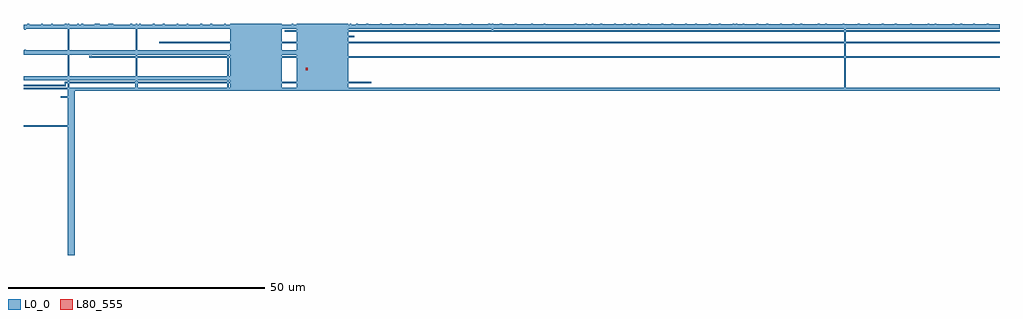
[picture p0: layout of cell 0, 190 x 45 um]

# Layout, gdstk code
import gdstk
lib = gdstk.Library(unit=1e-6, precision=1e-09)
def P(c, l, *ps):  # polygons
    for p in ps: c.add(gdstk.Polygon(p, *l))
L0_0 = (0, 0)
L80_555 = (80, 555)

c_0 = lib.new_cell('0')
P(c_0, L0_0, [(1250.24,775),(1250.24,762),(1240.24,762),(1240.24,775),(1250.24,775)],
  [(1240.24,774.88),(1250.24,774.88),(1250.24,774.08),(1240.24,774.08),(1240.24,774.88)],
  [(1240.24,764.8),(1250.24,764.8),(1250.24,764),(1240.24,764),(1240.24,764.8)],
  [(1240.24,762),(1240.24,762.62),(1250.24,762.62),(1250.24,762),(1240.24,762)],
  [(1263.24,775),(1263.24,762),(1253.24,762),(1253.24,775),(1263.24,775)],
  [(1253.24,769.84),(1263.24,769.84),(1263.24,769.04),(1253.24,769.04),(1253.24,769.84)],
  [(1260.33,764.39),(1260.87,764.39),(1260.87,763.85),(1260.33,763.85),(1260.33,764.39)],
  [(1221.72,763.83),(1222.26,763.83),(1222.26,763.29),(1221.72,763.29),(1221.72,763.83)],
  [(1221.77,762),(1221.77,763.78),(1222.21,763.78),(1222.21,762),(1221.77,762)],
  [(1200,769.84),(1201.2,769.84),(1201.2,769.04),(1200,769.04),(1200,769.84)],
  [(1201.2,769.84),(1201.2,769.04),(1200.54,769.04),(1200.54,769.84),(1201.2,769.84)],
  [(1253.24,769.84),(1263.24,769.84),(1263.24,769.04),(1253.24,769.04),(1253.24,769.84)],
  [(1201.2,769.84),(1263.24,769.84),(1263.24,769.04),(1201.2,769.04),(1201.2,769.84)],
  [(1200,769.84),(1200.12,769.84),(1200.12,770.015),(1200.46,770.015),(1200.46,769.84),(1201.2,769.84),(1201.2,769.04),(1200,769.04),(1200,769.84)],
  [(1239.695,768.485),(1239.695,769.16),(1239.925,769.16),(1239.925,768.485),(1239.695,768.485)],
  [(1200,769.84),(1200.54,769.84),(1200.54,769.04),(1200,769.04),(1200,769.84)],
  [(1239.62,768.74),(1240,768.74),(1240,768.46),(1239.62,768.46),(1239.62,768.74)],
  [(1201.2,769.84),(1201.2,769.04),(1200.54,769.04),(1200.54,769.84),(1201.2,769.84)],
  [(1253.24,769.84),(1263.24,769.84),(1263.24,769.04),(1253.24,769.04),(1253.24,769.84)],
  [(1200,769.84),(1200.12,769.84),(1200.12,770.015),(1200.46,770.015),(1200.46,769.84),(1201.2,769.84),(1201.2,769.04),(1200,769.04),(1200,769.84)],
  [(1201.2,769.84),(1263.24,769.84),(1263.24,769.04),(1201.2,769.04),(1201.2,769.84)],
  [(1239.695,768.485),(1239.695,769.16),(1239.925,769.16),(1239.925,768.485),(1239.695,768.485)],
  [(1200,769.84),(1200.54,769.84),(1200.54,769.04),(1200,769.04),(1200,769.84)],
  [(1240.24,764.8),(1250.24,764.8),(1250.24,764),(1240.24,764),(1240.24,764.8)],
  [(1201.2,764.8),(1201.2,764),(1200.54,764),(1200.54,764.8),(1201.2,764.8)],
  [(1200,764.8),(1201.2,764.8),(1201.2,764),(1200,764),(1200,764.8)],
  [(1201.2,764.8),(1250.24,764.8),(1250.24,764),(1201.2,764),(1201.2,764.8)],
  [(1200,764.8),(1200.54,764.8),(1200.54,764),(1200,764),(1200,764.8)],
  [(1200,764.8),(1201.2,764.8),(1201.2,764),(1200,764),(1200,764.8)],
  [(1200,774.88),(1390,774.88),(1390,774.08),(1200,774.08),(1200,774.88)],
  [(1240.24,774.88),(1250.24,774.88),(1250.24,774.08),(1240.24,774.08),(1240.24,774.88)],
  [(1359.815,773.525),(1359.815,774.2),(1360.045,774.2),(1360.045,773.525),(1359.815,773.525)],
  [(1241.28,775),(1241.28,774.88),(1243.58,774.88),(1243.58,775),(1243.92,775),(1243.92,774.88),(1244.1,774.88),(1244.1,774.08),(1240.14,774.08),(1240.14,774.88),(1240.94,774.88),(1240.94,775),(1241.28,775)],
  [(1217.46,775),(1217.46,774.88),(1217.7,774.88),(1217.7,774.08),(1215.06,774.08),(1215.06,774.88),(1216.48,774.88),(1216.48,775),(1217.46,775)],
  [(1214.82,775),(1214.82,774.88),(1215.06,774.88),(1215.06,774.08),(1212.42,774.08),(1212.42,774.88),(1213.84,774.88),(1213.84,775),(1214.82,775)],
  [(1310.95,775),(1310.95,774.88),(1311.42,774.88),(1311.42,774.08),(1310.1,774.08),(1310.1,774.88),(1310.61,774.88),(1310.61,775),(1310.95,775)],
  [(1210.76,775),(1210.76,774.88),(1211.1,774.88),(1211.1,774.08),(1209.12,774.08),(1209.12,774.88),(1210.42,774.88),(1210.42,775),(1210.76,775)],
  [(1309.76,775),(1309.76,774.88),(1310.1,774.88),(1310.1,774.08),(1308.12,774.08),(1308.12,774.88),(1309.42,774.88),(1309.42,775),(1309.76,775)],
  [(1244.62,775),(1244.62,774.88),(1245.42,774.88),(1245.42,774.08),(1244.1,774.08),(1244.1,774.88),(1244.28,774.88),(1244.28,775),(1244.62,775)],
  [(1211.62,775),(1211.62,774.88),(1212.42,774.88),(1212.42,774.08),(1211.1,774.08),(1211.1,774.88),(1211.28,774.88),(1211.28,775),(1211.62,775)],
  [(1390,774.08),(1388.64,774.08),(1388.64,774.88),(1390,774.88),(1390,774.08)],
  [(1305.48,774.88),(1305.48,774.08),(1302.84,774.08),(1302.84,774.88),(1305.48,774.88)],
  [(1258.62,774.88),(1258.62,774.08),(1255.98,774.08),(1255.98,774.88),(1258.62,774.88)],
  [(1265.88,774.88),(1265.88,774.08),(1264.56,774.08),(1264.56,774.88),(1265.88,774.88)],
  [(1259.94,774.88),(1259.94,774.08),(1258.62,774.08),(1258.62,774.88),(1259.94,774.88)],
  [(1251.36,774.88),(1251.36,774.08),(1250.04,774.08),(1250.04,774.88),(1251.36,774.88)],
  [(1219.02,774.88),(1219.02,774.08),(1217.7,774.08),(1217.7,774.88),(1219.02,774.88)],
  [(1368.84,774.88),(1368.84,774.08),(1368.18,774.08),(1368.18,774.88),(1368.84,774.88)],
  [(1306.14,774.88),(1306.14,774.08),(1305.48,774.08),(1305.48,774.88),(1306.14,774.88)],
  [(1219.68,774.88),(1219.68,774.08),(1219.02,774.08),(1219.02,774.88),(1219.68,774.88)],
  [(1350.01,775),(1350.01,774.88),(1351.225,774.88),(1351.225,775),(1351.565,775),(1351.565,774.88),(1354.665,774.88),(1354.665,775),(1355.005,775),(1355.005,774.88),(1356.065,774.88),(1356.065,775),(1356.405,775),(1356.405,774.88),(1359.46,774.88),(1359.46,775),(1359.8,775),(1359.8,774.88),(1362.44,774.88),(1362.44,775),(1362.78,775),(1362.78,774.88),(1363.56,774.88),(1363.56,774.08),(1348.38,774.08),(1348.38,774.88),(1349.67,774.88),(1349.67,775),(1350.01,775)],
  [(1369.96,775),(1369.96,774.88),(1372.6,774.88),(1372.6,775),(1372.94,775),(1372.94,774.88),(1375.995,774.88),(1375.995,775),(1376.335,775),(1376.335,774.88),(1377.395,774.88),(1377.395,775),(1377.735,775),(1377.735,774.88),(1380.835,774.88),(1380.835,775),(1381.175,775),(1381.175,774.88),(1382.39,774.88),(1382.39,775),(1382.73,775),(1382.73,774.88),(1384.02,774.88),(1384.02,774.08),(1368.84,774.08),(1368.84,774.88),(1369.62,774.88),(1369.62,775),(1369.96,775)],
  [(1236.72,775),(1236.72,774.88),(1239.06,774.88),(1239.06,775),(1239.4,775),(1239.4,774.88),(1240.14,774.88),(1240.14,774.08),(1235.52,774.08),(1235.52,774.88),(1236.38,774.88),(1236.38,775),(1236.72,775)],
  [(1271.7,775),(1271.7,774.88),(1274.04,774.88),(1274.04,775),(1274.38,775),(1274.38,774.88),(1275.12,774.88),(1275.12,774.08),(1270.5,774.08),(1270.5,774.88),(1271.36,774.88),(1271.36,775),(1271.7,775)],
  [(1200,774.88),(1200.74,774.88),(1200.74,775),(1201.08,775),(1201.08,774.88),(1203.42,774.88),(1203.42,775),(1203.76,775),(1203.76,774.88),(1204.5,774.88),(1204.5,774.08),(1200,774.08),(1200,774.88)],
  [(1246.62,775),(1246.62,774.88),(1248.96,774.88),(1248.96,775),(1249.3,775),(1249.3,774.88),(1250.04,774.88),(1250.04,774.08),(1245.42,774.08),(1245.42,774.88),(1246.28,774.88),(1246.28,775),(1246.62,775)],
  [(1267.08,775),(1267.08,774.88),(1269.42,774.88),(1269.42,775),(1269.76,775),(1269.76,774.88),(1270.5,774.88),(1270.5,774.08),(1265.88,774.08),(1265.88,774.88),(1266.74,774.88),(1266.74,775),(1267.08,775)],
  [(1312.62,775),(1312.62,774.88),(1314.96,774.88),(1314.96,775),(1315.3,775),(1315.3,774.88),(1316.04,774.88),(1316.04,774.08),(1311.42,774.08),(1311.42,774.88),(1312.28,774.88),(1312.28,775),(1312.62,775)],
  [(1261.14,775),(1261.14,774.88),(1263.48,774.88),(1263.48,775),(1263.82,775),(1263.82,774.88),(1264.56,774.88),(1264.56,774.08),(1259.94,774.08),(1259.94,774.88),(1260.8,774.88),(1260.8,775),(1261.14,775)],
  [(1317.24,775),(1317.24,774.88),(1319.58,774.88),(1319.58,775),(1319.92,775),(1319.92,774.88),(1320.66,774.88),(1320.66,774.08),(1316.04,774.08),(1316.04,774.88),(1316.9,774.88),(1316.9,775),(1317.24,775)],
  [(1252.56,775),(1252.56,774.88),(1254.9,774.88),(1254.9,775),(1255.24,775),(1255.24,774.88),(1255.98,774.88),(1255.98,774.08),(1251.36,774.08),(1251.36,774.88),(1252.22,774.88),(1252.22,775),(1252.56,775)],
  [(1232.1,775),(1232.1,774.88),(1234.44,774.88),(1234.44,775),(1234.78,775),(1234.78,774.88),(1235.52,774.88),(1235.52,774.08),(1230.9,774.08),(1230.9,774.88),(1231.76,774.88),(1231.76,775),(1232.1,775)],
  [(1321.86,775),(1321.86,774.88),(1324.2,774.88),(1324.2,775),(1324.54,775),(1324.54,774.88),(1325.28,774.88),(1325.28,774.08),(1320.66,774.08),(1320.66,774.88),(1321.52,774.88),(1321.52,775),(1321.86,775)],
  [(1326.48,775),(1326.48,774.88),(1328.82,774.88),(1328.82,775),(1329.16,775),(1329.16,774.88),(1329.9,774.88),(1329.9,774.08),(1325.28,774.08),(1325.28,774.88),(1326.14,774.88),(1326.14,775),(1326.48,775)],
  [(1331.1,775),(1331.1,774.88),(1333.44,774.88),(1333.44,775),(1333.78,775),(1333.78,774.88),(1334.52,774.88),(1334.52,774.08),(1329.9,774.08),(1329.9,774.88),(1330.76,774.88),(1330.76,775),(1331.1,775)],
  [(1335.72,775),(1335.72,774.88),(1338.06,774.88),(1338.06,775),(1338.4,775),(1338.4,774.88),(1339.14,774.88),(1339.14,774.08),(1334.52,774.08),(1334.52,774.88),(1335.38,774.88),(1335.38,775),(1335.72,775)],
  [(1340.34,775),(1340.34,774.88),(1342.68,774.88),(1342.68,775),(1343.02,775),(1343.02,774.88),(1343.76,774.88),(1343.76,774.08),(1339.14,774.08),(1339.14,774.88),(1340,774.88),(1340,775),(1340.34,775)],
  [(1344.96,775),(1344.96,774.88),(1347.3,774.88),(1347.3,775),(1347.64,775),(1347.64,774.88),(1348.38,774.88),(1348.38,774.08),(1343.76,774.08),(1343.76,774.88),(1344.62,774.88),(1344.62,775),(1344.96,775)],
  [(1364.76,775),(1364.76,774.88),(1367.1,774.88),(1367.1,775),(1367.44,775),(1367.44,774.88),(1368.18,774.88),(1368.18,774.08),(1363.56,774.08),(1363.56,774.88),(1364.42,774.88),(1364.42,775),(1364.76,775)],
  [(1385.22,775),(1385.22,774.88),(1387.56,774.88),(1387.56,775),(1387.9,775),(1387.9,774.88),(1388.64,774.88),(1388.64,774.08),(1384.02,774.08),(1384.02,774.88),(1384.88,774.88),(1384.88,775),(1385.22,775)],
  [(1205.7,775),(1205.7,774.88),(1208.04,774.88),(1208.04,775),(1208.38,775),(1208.38,774.88),(1209.12,774.88),(1209.12,774.08),(1204.5,774.08),(1204.5,774.88),(1205.36,774.88),(1205.36,775),(1205.7,775)],
  [(1222.86,775),(1222.86,774.88),(1225.2,774.88),(1225.2,775),(1225.54,775),(1225.54,774.88),(1226.28,774.88),(1226.28,774.08),(1221.66,774.08),(1221.66,774.88),(1222.52,774.88),(1222.52,775),(1222.86,775)],
  [(1227.48,775),(1227.48,774.88),(1229.82,774.88),(1229.82,775),(1230.16,775),(1230.16,774.88),(1230.9,774.88),(1230.9,774.08),(1226.28,774.08),(1226.28,774.88),(1227.14,774.88),(1227.14,775),(1227.48,775)],
  [(1200,774.88),(1201.2,774.88),(1201.2,774.08),(1200.46,774.08),(1200.46,773.905),(1200.12,773.905),(1200.12,774.08),(1200,774.08),(1200,774.88)],
  [(1290.83,775),(1290.83,774.88),(1292.75,774.88),(1292.75,775),(1293.165,775),(1293.165,774.88),(1295.625,774.88),(1295.625,775),(1296.04,775),(1296.04,774.88),(1298.8,774.88),(1298.8,775),(1299.14,775),(1299.14,774.88),(1301.26,774.88),(1301.26,775),(1301.6,775),(1301.6,774.88),(1302.84,774.88),(1302.84,774.08),(1288.98,774.08),(1288.98,774.88),(1290.49,774.88),(1290.49,775),(1290.83,775)],
  [(1276.7,775),(1276.7,774.88),(1278.82,774.88),(1278.82,775),(1279.16,775),(1279.16,774.88),(1281.92,774.88),(1281.92,775),(1282.335,775),(1282.335,774.88),(1284.795,774.88),(1284.795,775),(1285.21,775),(1285.21,774.88),(1287.13,774.88),(1287.13,775),(1287.47,775),(1287.47,774.88),(1288.98,774.88),(1288.98,774.08),(1275.12,774.08),(1275.12,774.88),(1276.36,774.88),(1276.36,775),(1276.7,775)],
  [(1221.13,775),(1221.13,774.88),(1221.66,774.88),(1221.66,774.08),(1219.68,774.08),(1219.68,774.88),(1220.75,774.88),(1220.75,775),(1221.13,775)],
  [(1307.59,775),(1307.59,774.88),(1308.12,774.88),(1308.12,774.08),(1306.14,774.08),(1306.14,774.88),(1307.21,774.88),(1307.21,775),(1307.59,775)],
  [(1359.74,773.78),(1360.12,773.78),(1360.12,773.5),(1359.74,773.5),(1359.74,773.78)],
  [(1240.24,764.8),(1250.24,764.8),(1250.24,764),(1240.24,764),(1240.24,764.8)],
  [(1201.2,764.8),(1201.2,764),(1200.54,764),(1200.54,764.8),(1201.2,764.8)],
  [(1201.2,764.8),(1250.24,764.8),(1250.24,764),(1201.2,764),(1201.2,764.8)],
  [(1200,764.8),(1200.54,764.8),(1200.54,764),(1200,764),(1200,764.8)],
  [(1200,764.8),(1201.2,764.8),(1201.2,764),(1200,764),(1200,764.8)],
  [(1367.66,771.54),(1368.04,771.54),(1368.04,771.26),(1367.66,771.26),(1367.66,771.54)],
  [(1226.42,771.54),(1226.8,771.54),(1226.8,771.26),(1226.42,771.26),(1226.42,771.54)],
  [(1226.495,771.515),(1367.965,771.515),(1367.965,771.285),(1226.495,771.285),(1226.495,771.515)],
  [(1207.28,760.9),(1207.66,760.9),(1207.66,760.62),(1207.28,760.62),(1207.28,760.9)],
  [(1210,760.645),(1207.355,760.645),(1207.355,760.875),(1210,760.875),(1210,760.645)],
  [(1200,762.555),(1390,762.555),(1390,762.325),(1200,762.325),(1200,762.555)],
  [(1239.695,768.485),(1239.695,769.16),(1239.925,769.16),(1239.925,768.485),(1239.695,768.485)],
  [(1239.62,768.74),(1240,768.74),(1240,768.46),(1239.62,768.46),(1239.62,768.74)],
  [(1340.34,775),(1340.34,774.88),(1342.68,774.88),(1342.68,775),(1343.02,775),(1343.02,774.88),(1343.76,774.88),(1343.76,774.08),(1339.14,774.08),(1339.14,774.88),(1340,774.88),(1340,775),(1340.34,775)],
  [(1359.815,773.525),(1359.815,774.2),(1360.045,774.2),(1360.045,773.525),(1359.815,773.525)],
  [(1359.74,773.78),(1360.12,773.78),(1360.12,773.5),(1359.74,773.5),(1359.74,773.78)],
  [(1350.01,775),(1350.01,774.88),(1351.225,774.88),(1351.225,775),(1351.565,775),(1351.565,774.88),(1354.665,774.88),(1354.665,775),(1355.005,775),(1355.005,774.88),(1356.065,774.88),(1356.065,775),(1356.405,775),(1356.405,774.88),(1359.46,774.88),(1359.46,775),(1359.8,775),(1359.8,774.88),(1362.44,774.88),(1362.44,775),(1362.78,775),(1362.78,774.88),(1363.56,774.88),(1363.56,774.08),(1348.38,774.08),(1348.38,774.88),(1349.67,774.88),(1349.67,775),(1350.01,775)],
  [(1251.36,774.88),(1251.36,774.08),(1250.04,774.08),(1250.04,774.88),(1251.36,774.88)],
  [(1240.24,774.88),(1250.24,774.88),(1250.24,774.08),(1240.24,774.08),(1240.24,774.88)],
  [(1241.28,775),(1241.28,774.88),(1243.58,774.88),(1243.58,775),(1243.92,775),(1243.92,774.88),(1244.1,774.88),(1244.1,774.08),(1240.14,774.08),(1240.14,774.88),(1240.94,774.88),(1240.94,775),(1241.28,775)],
  [(1244.62,775),(1244.62,774.88),(1245.42,774.88),(1245.42,774.08),(1244.1,774.08),(1244.1,774.88),(1244.28,774.88),(1244.28,775),(1244.62,775)],
  [(1246.62,775),(1246.62,774.88),(1248.96,774.88),(1248.96,775),(1249.3,775),(1249.3,774.88),(1250.04,774.88),(1250.04,774.08),(1245.42,774.08),(1245.42,774.88),(1246.28,774.88),(1246.28,775),(1246.62,775)],
  [(1251.36,774.88),(1251.36,774.08),(1250.04,774.08),(1250.04,774.88),(1251.36,774.88)],
  [(1244.62,775),(1244.62,774.88),(1245.42,774.88),(1245.42,774.08),(1244.1,774.08),(1244.1,774.88),(1244.28,774.88),(1244.28,775),(1244.62,775)],
  [(1240.24,774.88),(1250.24,774.88),(1250.24,774.08),(1240.24,774.08),(1240.24,774.88)],
  [(1246.62,775),(1246.62,774.88),(1248.96,774.88),(1248.96,775),(1249.3,775),(1249.3,774.88),(1250.04,774.88),(1250.04,774.08),(1245.42,774.08),(1245.42,774.88),(1246.28,774.88),(1246.28,775),(1246.62,775)],
  [(1290.83,775),(1290.83,774.88),(1292.75,774.88),(1292.75,775),(1293.165,775),(1293.165,774.88),(1295.625,774.88),(1295.625,775),(1296.04,775),(1296.04,774.88),(1298.8,774.88),(1298.8,775),(1299.14,775),(1299.14,774.88),(1301.26,774.88),(1301.26,775),(1301.6,775),(1301.6,774.88),(1302.84,774.88),(1302.84,774.08),(1288.98,774.08),(1288.98,774.88),(1290.49,774.88),(1290.49,775),(1290.83,775)],
  [(1306.14,774.88),(1306.14,774.08),(1305.48,774.08),(1305.48,774.88),(1306.14,774.88)],
  [(1305.48,774.88),(1305.48,774.08),(1302.84,774.08),(1302.84,774.88),(1305.48,774.88)],
  [(1252.56,775),(1252.56,774.88),(1254.9,774.88),(1254.9,775),(1255.24,775),(1255.24,774.88),(1255.98,774.88),(1255.98,774.08),(1251.36,774.08),(1251.36,774.88),(1252.22,774.88),(1252.22,775),(1252.56,775)],
  [(1258.62,774.88),(1258.62,774.08),(1255.98,774.08),(1255.98,774.88),(1258.62,774.88)],
  [(1265.88,774.88),(1265.88,774.08),(1264.56,774.08),(1264.56,774.88),(1265.88,774.88)],
  [(1259.94,774.88),(1259.94,774.08),(1258.62,774.08),(1258.62,774.88),(1259.94,774.88)],
  [(1261.14,775),(1261.14,774.88),(1263.48,774.88),(1263.48,775),(1263.82,775),(1263.82,774.88),(1264.56,774.88),(1264.56,774.08),(1259.94,774.08),(1259.94,774.88),(1260.8,774.88),(1260.8,775),(1261.14,775)],
  [(1265.88,774.88),(1265.88,774.08),(1264.56,774.08),(1264.56,774.88),(1265.88,774.88)],
  [(1251.36,774.88),(1251.36,774.08),(1250.04,774.08),(1250.04,774.88),(1251.36,774.88)],
  [(1240.24,774.88),(1250.24,774.88),(1250.24,774.08),(1240.24,774.08),(1240.24,774.88)],
  [(1246.62,775),(1246.62,774.88),(1248.96,774.88),(1248.96,775),(1249.3,775),(1249.3,774.88),(1250.04,774.88),(1250.04,774.08),(1245.42,774.08),(1245.42,774.88),(1246.28,774.88),(1246.28,775),(1246.62,775)],
  [(1240.24,774.88),(1250.24,774.88),(1250.24,774.08),(1240.24,774.08),(1240.24,774.88)],
  [(1246.62,775),(1246.62,774.88),(1248.96,774.88),(1248.96,775),(1249.3,775),(1249.3,774.88),(1250.04,774.88),(1250.04,774.08),(1245.42,774.08),(1245.42,774.88),(1246.28,774.88),(1246.28,775),(1246.62,775)],
  [(1317.24,775),(1317.24,774.88),(1319.58,774.88),(1319.58,775),(1319.92,775),(1319.92,774.88),(1320.66,774.88),(1320.66,774.08),(1316.04,774.08),(1316.04,774.88),(1316.9,774.88),(1316.9,775),(1317.24,775)],
  [(1312.62,775),(1312.62,774.88),(1314.96,774.88),(1314.96,775),(1315.3,775),(1315.3,774.88),(1316.04,774.88),(1316.04,774.08),(1311.42,774.08),(1311.42,774.88),(1312.28,774.88),(1312.28,775),(1312.62,775)],
  [(1331.1,775),(1331.1,774.88),(1333.44,774.88),(1333.44,775),(1333.78,775),(1333.78,774.88),(1334.52,774.88),(1334.52,774.08),(1329.9,774.08),(1329.9,774.88),(1330.76,774.88),(1330.76,775),(1331.1,775)],
  [(1335.72,775),(1335.72,774.88),(1338.06,774.88),(1338.06,775),(1338.4,775),(1338.4,774.88),(1339.14,774.88),(1339.14,774.08),(1334.52,774.08),(1334.52,774.88),(1335.38,774.88),(1335.38,775),(1335.72,775)],
  [(1276.7,775),(1276.7,774.88),(1278.82,774.88),(1278.82,775),(1279.16,775),(1279.16,774.88),(1281.92,774.88),(1281.92,775),(1282.335,775),(1282.335,774.88),(1284.795,774.88),(1284.795,775),(1285.21,775),(1285.21,774.88),(1287.13,774.88),(1287.13,775),(1287.47,775),(1287.47,774.88),(1288.98,774.88),(1288.98,774.08),(1275.12,774.08),(1275.12,774.88),(1276.36,774.88),(1276.36,775),(1276.7,775)],
  [(1290.83,775),(1290.83,774.88),(1292.75,774.88),(1292.75,775),(1293.165,775),(1293.165,774.88),(1295.625,774.88),(1295.625,775),(1296.04,775),(1296.04,774.88),(1298.8,774.88),(1298.8,775),(1299.14,775),(1299.14,774.88),(1301.26,774.88),(1301.26,775),(1301.6,775),(1301.6,774.88),(1302.84,774.88),(1302.84,774.08),(1288.98,774.08),(1288.98,774.88),(1290.49,774.88),(1290.49,775),(1290.83,775)],
  [(1359.79,762),(1359.79,773.78),(1360.07,773.78),(1360.07,762),(1359.79,762)],
  [(1359.74,773.78),(1360.12,773.78),(1360.12,773.5),(1359.74,773.5),(1359.74,773.78)],
  [(1260.13,762),(1260.13,764.26),(1260.41,764.26),(1260.41,762),(1260.13,762)],
  [(1260.08,764.26),(1260.46,764.26),(1260.46,763.98),(1260.08,763.98),(1260.08,764.26)],
  [(1239.67,762),(1239.67,768.74),(1239.95,768.74),(1239.95,762),(1239.67,762)],
  [(1239.62,768.74),(1240,768.74),(1240,768.46),(1239.62,768.46),(1239.62,768.74)],
  [(1257.44,771.54),(1257.82,771.54),(1257.82,771.26),(1257.44,771.26),(1257.44,771.54)],
  [(1257.44,772.66),(1257.82,772.66),(1257.82,772.38),(1257.44,772.38),(1257.44,772.66)],
  [(1257.49,771.26),(1257.49,772.66),(1257.77,772.66),(1257.77,771.26),(1257.49,771.26)],
  [(1291.15,774.57),(1291.43,774.57),(1291.43,773.83),(1291.15,773.83),(1291.15,774.57)],
  [(1291.43,775),(1291.43,774.06),(1291.15,774.06),(1291.15,775),(1291.43,775)],
  [(1338.95,775),(1338.95,774.06),(1338.67,774.06),(1338.67,775),(1338.95,775)],
  [(1338.62,774.34),(1339,774.34),(1339,774.06),(1338.62,774.06),(1338.62,774.34)],
  [(1208.6,755.3),(1208.98,755.3),(1208.98,755.02),(1208.6,755.02),(1208.6,755.3)],
  [(1208.93,775),(1208.93,755.02),(1208.65,755.02),(1208.65,775),(1208.93,775)],
  [(1240.24,774.88),(1250.24,774.88),(1250.24,774.08),(1240.24,774.08),(1240.24,774.88)],
  [(1240.24,774.88),(1250.24,774.88),(1250.24,774.08),(1240.24,774.08),(1240.24,774.88)],
  [(1240.24,764.8),(1250.24,764.8),(1250.24,764),(1240.24,764),(1240.24,764.8)],
  [(1240.24,764.8),(1250.24,764.8),(1250.24,764),(1240.24,764),(1240.24,764.8)],
  [(1253.24,769.84),(1263.24,769.84),(1263.24,769.04),(1253.24,769.04),(1253.24,769.84)],
  [(1253.24,769.84),(1263.24,769.84),(1263.24,769.04),(1253.24,769.04),(1253.24,769.84)],
  [(1390,774.62),(1318.21,774.62),(1318.21,774.9),(1390,774.9),(1390,774.62)],
  [(1318.16,774.9),(1318.54,774.9),(1318.54,774.62),(1318.16,774.62),(1318.16,774.9)],
  [(1251.55,771.54),(1257.77,771.54),(1257.77,771.26),(1251.55,771.26),(1251.55,771.54)],
  [(1251.5,771.54),(1251.88,771.54),(1251.88,771.26),(1251.5,771.26),(1251.5,771.54)],
  [(1257.44,771.54),(1257.82,771.54),(1257.82,771.26),(1257.44,771.26),(1257.44,771.54)],
  [(1257.49,772.66),(1264.37,772.66),(1264.37,772.38),(1257.49,772.38),(1257.49,772.66)],
  [(1264.04,772.66),(1264.42,772.66),(1264.42,772.38),(1264.04,772.38),(1264.04,772.66)],
  [(1257.44,772.66),(1257.82,772.66),(1257.82,772.38),(1257.44,772.38),(1257.44,772.66)],
  [(1338.62,774.34),(1339,774.34),(1339,774.06),(1338.62,774.06),(1338.62,774.34)],
  [(1291.1,774.34),(1291.48,774.34),(1291.48,774.06),(1291.1,774.06),(1291.1,774.34)],
  [(1291.15,774.34),(1338.95,774.34),(1338.95,774.06),(1291.15,774.06),(1291.15,774.34)],
  [(1306.33,773.78),(1387.79,773.78),(1387.79,773.5),(1306.33,773.5),(1306.33,773.78)],
  [(1306.28,773.78),(1306.66,773.78),(1306.66,773.5),(1306.28,773.5),(1306.28,773.78)],
  [(1387.46,773.78),(1387.84,773.78),(1387.84,773.5),(1387.46,773.5),(1387.46,773.78)],
  [(1200,755.3),(1208.93,755.3),(1208.93,755.02),(1200,755.02),(1200,755.3)],
  [(1208.6,755.3),(1208.98,755.3),(1208.98,755.02),(1208.6,755.02),(1208.6,755.3)],
  [(1267.34,763.7),(1267.72,763.7),(1267.72,763.42),(1267.34,763.42),(1267.34,763.7)],
  [(1200,763.14),(1208.27,763.14),(1208.27,762.86),(1200,762.86),(1200,763.14)],
  [(1207.99,762.86),(1207.99,763.7),(1208.27,763.7),(1208.27,762.86),(1207.99,762.86)],
  [(1207.99,763.7),(1267.67,763.7),(1267.67,763.42),(1207.99,763.42),(1207.99,763.7)],
  [(1207.99,762.86),(1207.99,763.7),(1208.27,763.7),(1208.27,762.86),(1207.99,762.86)],
  [(1207.99,763.7),(1267.67,763.7),(1267.67,763.42),(1207.99,763.42),(1207.99,763.7)],
  [(1267.34,763.7),(1267.72,763.7),(1267.72,763.42),(1267.34,763.42),(1267.34,763.7)],
  [(1207.99,763.7),(1267.67,763.7),(1267.67,763.42),(1207.99,763.42),(1207.99,763.7)],
  [(1259.9,764.26),(1260.64,764.26),(1260.64,763.98),(1259.9,763.98),(1259.9,764.26)],
  [(1260.08,764.26),(1260.46,764.26),(1260.46,763.98),(1260.08,763.98),(1260.08,764.26)],
  [(1240.24,774.88),(1250.24,774.88),(1250.24,774.08),(1240.24,774.08),(1240.24,774.88)],
  [(1240.24,774.88),(1250.24,774.88),(1250.24,774.08),(1240.24,774.08),(1240.24,774.88)],
  [(1240.24,764.8),(1250.24,764.8),(1250.24,764),(1240.24,764),(1240.24,764.8)],
  [(1240.24,764.8),(1250.24,764.8),(1250.24,764),(1240.24,764),(1240.24,764.8)],
  [(1253.24,769.84),(1263.24,769.84),(1263.24,769.04),(1253.24,769.04),(1253.24,769.84)],
  [(1253.24,769.84),(1263.24,769.84),(1263.24,769.04),(1253.24,769.04),(1253.24,769.84)],
  [(1390,762),(1210,762),(1210,760.62),(1208.585,760.62),(1208.585,762.62),(1390,762.62),(1390,762)],
  [(1240.81,762),(1240.81,762.62),(1247.95,762.62),(1247.95,762),(1240.81,762)],
  [(1318.49,775),(1318.49,774.62),(1318.21,774.62),(1318.21,775),(1318.49,775)],
  [(1318.16,774.9),(1318.54,774.9),(1318.54,774.62),(1318.16,774.62),(1318.16,774.9)],
  [(1221.8,763.7),(1222.18,763.7),(1222.18,763.42),(1221.8,763.42),(1221.8,763.7)],
  [(1222.13,775),(1222.13,763.42),(1221.85,763.42),(1221.85,775),(1222.13,775)],
  [(1264.7,774.9),(1265.08,774.9),(1265.08,774.62),(1264.7,774.62),(1264.7,774.9)],
  [(1265.03,775),(1265.03,774.62),(1264.75,774.62),(1264.75,775),(1265.03,775)],
  [(1260.08,764.26),(1260.46,764.26),(1260.46,763.98),(1260.08,763.98),(1260.08,764.26)],
  [(1260.13,764.49),(1260.41,764.49),(1260.41,763.75),(1260.13,763.75),(1260.13,764.49)],
  [(1240.24,774.88),(1250.24,774.88),(1250.24,774.08),(1240.24,774.08),(1240.24,774.88)],
  [(1240.24,774.88),(1250.24,774.88),(1250.24,774.08),(1240.24,774.08),(1240.24,774.88)],
  [(1240.24,764.8),(1250.24,764.8),(1250.24,764),(1240.24,764),(1240.24,764.8)],
  [(1240.24,764.8),(1250.24,764.8),(1250.24,764),(1240.24,764),(1240.24,764.8)],
  [(1253.24,769.84),(1263.24,769.84),(1263.24,769.04),(1253.24,769.04),(1253.24,769.84)],
  [(1253.24,769.84),(1263.24,769.84),(1263.24,769.04),(1253.24,769.04),(1253.24,769.84)],
  [(1240.81,762),(1240.81,762.62),(1247.95,762.62),(1247.95,762),(1240.81,762)],
  [(1240.81,762),(1240.81,762.62),(1247.95,762.62),(1247.95,762),(1240.81,762)],
  [(1210,743.84),(1208.585,743.84),(1208.585,744.64),(1210,744.64),(1210,743.84)],
  [(1210,733.76),(1208.585,733.76),(1208.585,734.56),(1210,734.56),(1210,733.76)],
  [(1210,762),(1210,730),(1208.585,730),(1208.585,762.62),(1210.585,762.62),(1210.585,762),(1210,762)],
  [(1210,753.92),(1208.585,753.92),(1208.585,754.72),(1210,754.72),(1210,753.92)],
  [(1210,743.84),(1208.585,743.84),(1208.585,744.64),(1210,744.64),(1210,743.84)],
  [(1210,762),(1210,730),(1208.585,730),(1208.585,762.62),(1210.585,762.62),(1210.585,762),(1210,762)],
  [(1210,733.76),(1208.585,733.76),(1208.585,734.56),(1210,734.56),(1210,733.76)],
  [(1210,762),(1210,730),(1208.585,730),(1208.585,762.62),(1210.585,762.62),(1210.585,762),(1210,762)],
  [(1385.67,762),(1385.67,762.62),(1389.47,762.62),(1389.47,762),(1385.67,762)],
  [(1376.91,762),(1376.91,762.62),(1378.59,762.62),(1378.59,762),(1376.91,762)],
  [(1368.45,762),(1368.45,762.62),(1369.45,762.62),(1369.45,762),(1368.45,762)],
  [(1366.7,762),(1366.7,762.62),(1367.58,762.62),(1367.58,762),(1366.7,762)],
  [(1360.95,762),(1360.95,762.62),(1361.81,762.62),(1361.81,762),(1360.95,762)],
  [(1355.19,762),(1355.19,762.62),(1356.05,762.62),(1356.05,762),(1355.19,762)],
  [(1348.58,762),(1348.58,762.62),(1349.68,762.62),(1349.68,762),(1348.58,762)],
  [(1340.15,762),(1340.15,762.62),(1341.69,762.62),(1341.69,762),(1340.15,762)],
  [(1330.07,762),(1330.07,762.62),(1332.45,762.62),(1332.45,762),(1330.07,762)],
  [(1323.05,762),(1323.05,762.62),(1325.43,762.62),(1325.43,762),(1323.05,762)],
  [(1313.81,762),(1313.81,762.62),(1315.35,762.62),(1315.35,762),(1313.81,762)],
  [(1309.51,762),(1309.51,762.62),(1311.05,762.62),(1311.05,762),(1309.51,762)],
  [(1299.43,762),(1299.43,762.62),(1301.81,762.62),(1301.81,762),(1299.43,762)],
  [(1292.41,762),(1292.41,762.62),(1294.79,762.62),(1294.79,762),(1292.41,762)],
  [(1283.17,762),(1283.17,762.62),(1284.71,762.62),(1284.71,762),(1283.17,762)],
  [(1278.87,762),(1278.87,762.62),(1280.41,762.62),(1280.41,762),(1278.87,762)],
  [(1268.79,762),(1268.79,762.62),(1271.17,762.62),(1271.17,762),(1268.79,762)],
  [(1261.77,762),(1261.77,762.62),(1264.15,762.62),(1264.15,762),(1261.77,762)],
  [(1252.53,762),(1252.53,762.62),(1254.07,762.62),(1254.07,762),(1252.53,762)],
  [(1248.23,762),(1248.23,762.62),(1249.77,762.62),(1249.77,762),(1248.23,762)],
  [(1238.15,762),(1238.15,762.62),(1240.53,762.62),(1240.53,762),(1238.15,762)],
  [(1231.13,762),(1231.13,762.62),(1233.51,762.62),(1233.51,762),(1231.13,762)],
  [(1221.89,762),(1221.89,762.62),(1223.43,762.62),(1223.43,762),(1221.89,762)],
  [(1215.21,762),(1215.21,762.62),(1216.19,762.62),(1216.19,762),(1215.21,762)],
  [(1260.13,764.26),(1260.74,764.26),(1260.74,763.98),(1260.13,763.98),(1260.13,764.26)],
  [(1260.08,764.26),(1260.46,764.26),(1260.46,763.98),(1260.08,763.98),(1260.08,764.26)],
  [(1260.36,764.31),(1260.84,764.31),(1260.84,763.93),(1260.36,763.93),(1260.36,764.31)],
  [(1390,773.5),(1250.89,773.5),(1250.89,773.78),(1390,773.78),(1390,773.5)],
  [(1250.84,773.78),(1251.22,773.78),(1251.22,773.5),(1250.84,773.5),(1250.84,773.78)],
  [(1264.7,774.9),(1265.08,774.9),(1265.08,774.62),(1264.7,774.62),(1264.7,774.9)],
  [(1390,774.62),(1264.75,774.62),(1264.75,774.9),(1390,774.9),(1390,774.62)],
  [(1212.84,768.79),(1213.32,768.79),(1213.32,768.41),(1212.84,768.41),(1212.84,768.79)],
  [(1390,768.46),(1212.94,768.46),(1212.94,768.74),(1390,768.74),(1390,768.46)],
  [(1226.42,771.54),(1226.8,771.54),(1226.8,771.26),(1226.42,771.26),(1226.42,771.54)],
  [(1390,771.26),(1226.47,771.26),(1226.47,771.54),(1390,771.54),(1390,771.26)],
  [(1221.72,763.75),(1222.26,763.75),(1222.26,763.37),(1221.72,763.37),(1221.72,763.75)],
  [(1221.8,763.7),(1222.18,763.7),(1222.18,763.42),(1221.8,763.42),(1221.8,763.7)],
  [(1260.08,764.26),(1260.46,764.26),(1260.46,763.98),(1260.08,763.98),(1260.08,764.26)],
  [(1260.36,764.31),(1260.84,764.31),(1260.84,763.93),(1260.36,763.93),(1260.36,764.31)],
  [(1240.24,774.88),(1250.24,774.88),(1250.24,774.08),(1240.24,774.08),(1240.24,774.88)],
  [(1240.24,774.88),(1250.24,774.88),(1250.24,774.08),(1240.24,774.08),(1240.24,774.88)],
  [(1240.24,764.8),(1250.24,764.8),(1250.24,764),(1240.24,764),(1240.24,764.8)],
  [(1240.24,764.8),(1250.24,764.8),(1250.24,764),(1240.24,764),(1240.24,764.8)],
  [(1253.24,769.84),(1263.24,769.84),(1263.24,769.04),(1253.24,769.04),(1253.24,769.84)],
  [(1253.24,769.84),(1263.24,769.84),(1263.24,769.04),(1253.24,769.04),(1253.24,769.84)],
  [(1240.81,762),(1240.81,762.62),(1247.95,762.62),(1247.95,762),(1240.81,762)],
  [(1240.24,762),(1240.24,762.62),(1250.24,762.62),(1250.24,762),(1240.24,762)])
P(c_0, L80_555, [(1254.936,766.025),(1254.936,766.425),(1255.336,766.425),(1255.336,766.025),(1254.936,766.025)])

lib.write_gds('0.gds')
